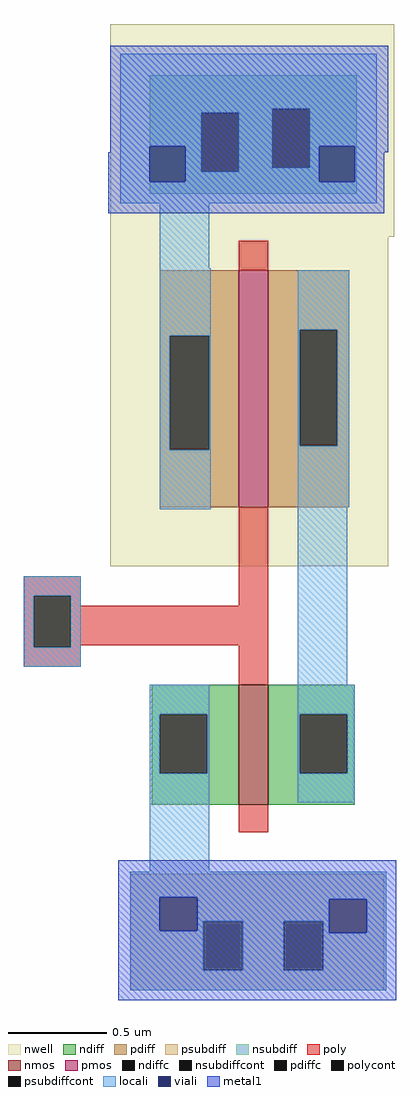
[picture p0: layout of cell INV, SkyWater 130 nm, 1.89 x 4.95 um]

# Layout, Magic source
magic
tech sky130A
<< nwell >>
rect 0 167 144 275
rect 0 0 141 167
<< nmos >>
rect 65 -121 80 -60
<< pmos >>
rect 65 30 80 150
<< ndiff >>
rect 21 -75 65 -60
rect 21 -105 25 -75
rect 49 -105 65 -75
rect 21 -121 65 -105
rect 80 -75 124 -60
rect 80 -105 96 -75
rect 120 -105 124 -75
rect 80 -121 124 -105
<< pdiff >>
rect 25 117 65 150
rect 25 59 30 117
rect 50 59 65 117
rect 25 30 65 59
rect 80 120 121 150
rect 80 61 96 120
rect 115 61 121 120
rect 80 30 121 61
<< ndiffc >>
rect 25 -105 49 -75
rect 96 -105 120 -75
<< pdiffc >>
rect 30 59 50 117
rect 96 61 115 120
<< psubdiff >>
rect 10 -180 139 -156
rect 10 -205 47 -180
rect 67 -205 88 -180
rect 108 -205 139 -180
rect 10 -215 139 -205
<< nsubdiff >>
rect 20 232 125 249
rect 20 230 82 232
rect 20 200 46 230
rect 65 202 82 230
rect 101 202 125 232
rect 65 200 125 202
rect 20 189 125 200
<< psubdiffcont >>
rect 47 -205 67 -180
rect 88 -205 108 -180
<< nsubdiffcont >>
rect 46 200 65 230
rect 82 202 101 232
<< poly >>
rect 65 150 80 165
rect -44 -15 -15 -5
rect -44 -41 -39 -15
rect -20 -20 -15 -15
rect 65 -20 80 30
rect -20 -40 80 -20
rect -20 -41 -15 -40
rect -44 -51 -15 -41
rect 65 -60 80 -40
rect 65 -135 80 -121
<< polycont >>
rect -39 -41 -20 -15
<< locali >>
rect 5 232 135 260
rect 5 230 82 232
rect 5 213 46 230
rect 5 195 20 213
rect 38 200 46 213
rect 65 202 82 230
rect 101 213 135 232
rect 101 202 106 213
rect 65 200 106 202
rect 38 195 106 200
rect 124 195 135 213
rect 5 184 135 195
rect 25 151 50 184
rect 25 117 51 151
rect 25 59 30 117
rect 50 59 51 117
rect 25 29 51 59
rect 95 120 121 150
rect 95 61 96 120
rect 115 61 121 120
rect 95 30 121 61
rect -44 -15 -15 -5
rect -44 -41 -39 -15
rect -20 -41 -15 -15
rect -44 -51 -15 -41
rect 95 -60 120 30
rect 20 -75 50 -60
rect 20 -105 25 -75
rect 49 -105 50 -75
rect 20 -155 50 -105
rect 95 -75 124 -60
rect 95 -105 96 -75
rect 120 -105 124 -75
rect 95 -120 124 -105
rect 10 -168 140 -155
rect 10 -185 25 -168
rect 44 -169 140 -168
rect 44 -180 111 -169
rect 44 -185 47 -180
rect 10 -205 47 -185
rect 67 -205 88 -180
rect 108 -186 111 -180
rect 130 -186 140 -169
rect 108 -205 140 -186
rect 10 -215 140 -205
<< viali >>
rect 20 195 38 213
rect 106 195 124 213
rect 25 -185 44 -168
rect 111 -186 130 -169
<< metal1 >>
rect 0 213 141 264
rect 0 210 20 213
rect -1 195 20 210
rect 38 195 106 213
rect 124 210 141 213
rect 124 195 139 210
rect -1 179 139 195
rect 4 -168 145 -149
rect 4 -185 25 -168
rect 44 -169 145 -168
rect 44 -185 111 -169
rect 4 -186 111 -185
rect 130 -186 145 -169
rect 4 -220 145 -186
<< end >>
